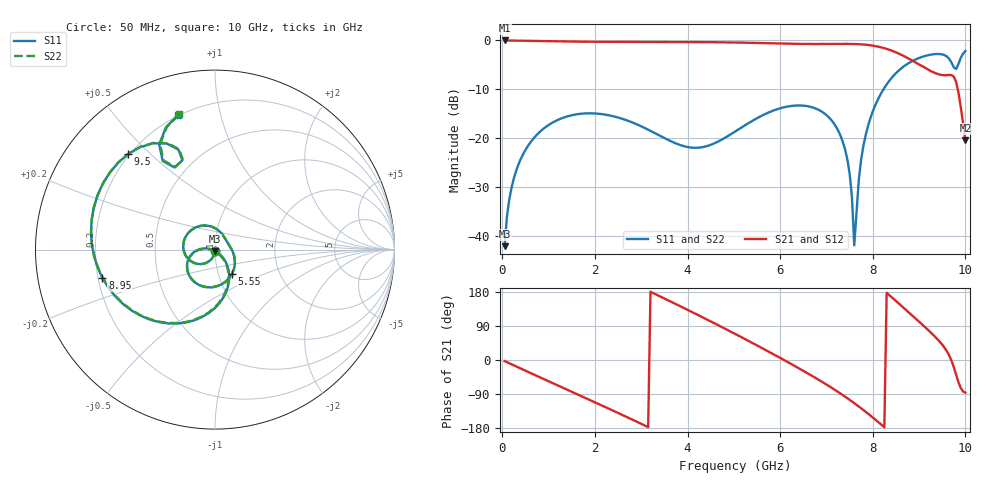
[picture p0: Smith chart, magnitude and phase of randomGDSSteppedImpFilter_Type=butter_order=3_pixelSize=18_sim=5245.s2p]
! freq	dB(S11)	phase(S11)	dB(S12)	phase(S12)
!  dB(S21)	phase(S21)	dB(S22)	phase(S22)
!S-par simulation data
#  GHz  S  DB  R 50
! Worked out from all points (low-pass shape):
!   200 points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, 50 MHz to 10 GHz, reference 50 ohm
!   highest |S21| = -0.01 dB at 50 MHz (marker M1); lowest = -20.4 dB at 10 GHz (marker M2)
!   |S21| within 3 dB of the highest: start of sweep to 8.631 GHz
!   lowest |S11| = -42.1 dB at 50 MHz (marker M3), VSWR 1.02, Z = 50 - j0.782 ohm
!   |S11| at or under -10 dB: start of sweep to 8.232 GHz
!   |S22| runs from -42.1 to -2.2 dB; largest |S21 - S12| = 0
!   S11 on the Smith chart (normalised r, x): 50 MHz: 1.00, -0.02; 5.55 GHz: 1.16, -0.32; 8.95 GHz: 0.22, -0.12; 9.5 GHz: 0.19, +0.43; 10 GHz: 0.19, +0.75
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0.05  -42.12 -92.3  -0.01 -2.9  -0.01 -2.9  -42.12 -92.3
0.2  -30.13 -101.2  -0.03 -11.4  -0.03 -11.4  -30.13 -101.2
0.5  -22.42 -118.3  -0.06 -28.2  -0.06 -28.2  -22.42 -118.3
1.15  -16.49 -155.0  -0.18 -64.5  -0.18 -64.5  -16.49 -155.0
1.75  -14.97 171.5  -0.26 -97.7  -0.26 -97.7  -14.97 171.4
2.65  -16.23 121.0  -0.29 -148.3  -0.29 -148.3  -16.23 120.9
3.4  -19.49 77.4  -0.29 168.2  -0.29 168.2  -19.49 77.2
4.3  -21.89 23.2  -0.34 114.2  -0.34 114.2  -21.89 23.0
5.05  -18.52 -23.2  -0.43 67.5  -0.43 67.5  -18.52 -23.2
5.55  -15.67 -55.0  -0.52 35.3  -0.52 35.3  -15.67 -55.0
6.15  -13.55 -94.5  -0.67 -4.5  -0.67 -4.5  -13.55 -94.3
6.7  -13.71 -132.3  -0.74 -42.7  -0.74 -42.7  -13.71 -132.0
7.35  -20.67 -179.9  -0.70 -92.4  -0.70 -92.4  -20.65 -178.5
7.5  -27.24 171.7  -0.71 -105.0  -0.71 -105.0  -27.14 175.1
7.6  -41.95 -150.3  -0.73 -113.8  -0.73 -113.8  -39.62 -141.8
7.7  -28.34 -43.7  -0.77 -122.9  -0.77 -122.9  -28.21 -48.3
7.8  -21.46 -47.9  -0.84 -132.2  -0.84 -132.2  -21.44 -50.2
8.35  -8.36 -100.7  -1.89 172.0  -1.89 172.0  -8.36 -101.5
8.95  -3.78 -165.9  -4.65 106.7  -4.65 106.7  -3.78 -166.4
9.5  -2.86 132.2  -7.10 40.4  -7.10 40.4  -2.86 131.8
9.8  -5.86 116.1  -8.52 -39.0  -8.52 -39.0  -5.83 115.7
10  -2.17 105.3  -20.42 -86.2  -20.42 -86.2  -2.16 104.8
